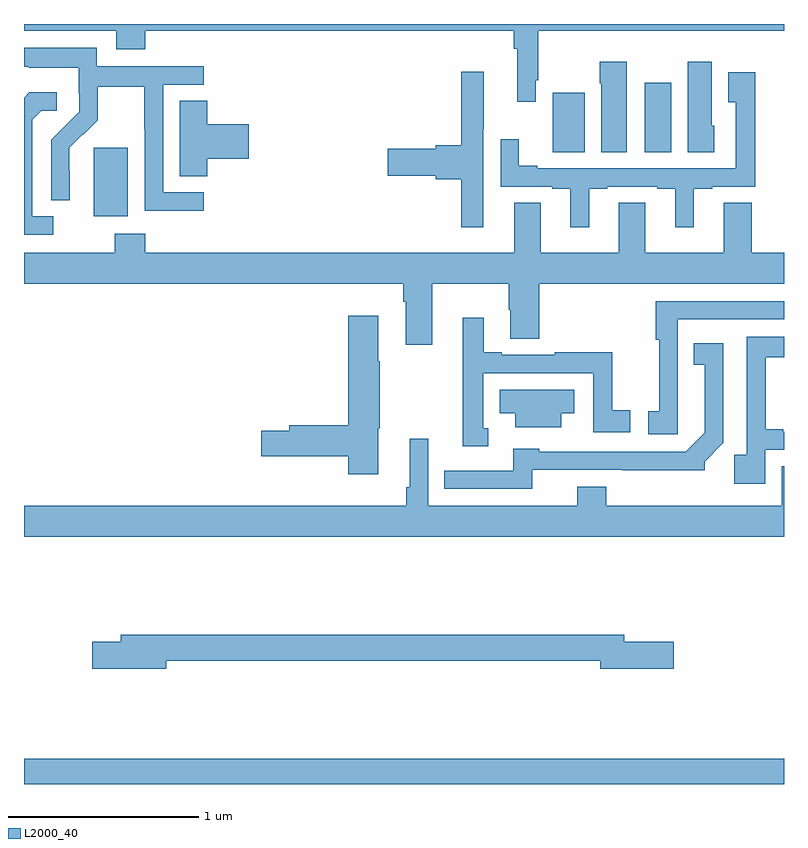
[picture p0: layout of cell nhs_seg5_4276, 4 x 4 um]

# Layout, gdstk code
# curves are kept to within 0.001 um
import gdstk
lib = gdstk.Library(unit=1e-6, precision=1e-09)
def R(c, l, rs):  # rectangles x0, y0, x1, y1
    for r in rs: c.add(gdstk.rectangle(r[:2], r[2:], *l))
def P(c, l, *ps):  # polygons
    for p in ps: c.add(gdstk.Polygon(p, *l))
L2000_40 = (2000, 40)

nhs_seg5_4276 = lib.new_cell('nhs_seg5_4276')
R(nhs_seg5_4276, L2000_40, [(363,848.799,367,848.932), (363.368,851.786,363.547,852.147), (365.783,852.124,365.95,852.436), (366.266,852.124,366.406,852.49)])
P(nhs_seg5_4276, L2000_40, [(365.694,852.502),(365.707,852.502),(365.707,852.764),(367,852.764),(367,852.799),(363,852.799),(363,852.764),(363.485,852.764),(363.485,852.665),(363.638,852.665),(363.638,852.764),(365.578,852.764),(365.578,852.668),(365.597,852.668),(365.597,852.39),(365.694,852.39)],
  [(363.946,851.913),(363.732,851.913),(363.732,852.48),(363.946,852.48),(363.946,852.576),(363.384,852.576),(363.384,852.673),(363,852.673),(363,852.573),(363.025,852.573),(363.025,852.569),(363.288,852.569),(363.288,852.435),(363.29,852.435),(363.29,852.338),(363.144,852.19),(363.144,851.872),(363.24,851.872),(363.239,852.149),(363.309,852.219),(363.312,852.216),(363.389,852.293),(363.389,852.468),(363.634,852.468),(363.634,852.244),(363.636,852.244),(363.636,851.815),(363.946,851.815)],
  [(366.634,852.264),(366.619,852.264),(366.619,852.601),(366.494,852.601),(366.494,852.124),(366.634,852.124)],
  [(366.172,852.601),(366.031,852.601),(366.031,852.488),(366.038,852.488),(366.038,852.124),(366.172,852.124)],
  [(365.418,852.244),(365.42,852.244),(365.42,852.547),(365.302,852.547),(365.302,852.161),(365.166,852.161),(365.166,852.143),(364.914,852.143),(364.914,852.001),(365.166,852.001),(365.166,851.983),(365.302,851.983),(365.302,851.73),(365.418,851.73)],
  [(365.974,851.931),(366.07,851.931),(366.07,851.943),(366.332,851.943),(366.332,851.931),(366.428,851.931),(366.428,851.73),(366.526,851.73),(366.526,851.931),(366.622,851.931),(366.622,851.943),(366.848,851.943),(366.848,852.544),(366.707,852.544),(366.707,852.388),(366.747,852.388),(366.747,852.039),(365.701,852.039),(365.701,852.052),(365.605,852.052),(365.605,852.193),(365.508,852.193),(365.508,851.943),(365.78,851.943),(365.78,851.931),(365.876,851.931),(365.876,851.73),(365.974,851.73)],
  [(363.154,851.787),(363.043,851.787),(363.043,852.295),(363.09,852.342),(363.172,852.342),(363.172,852.439),(363.028,852.439),(363,852.411),(363,851.691),(363.154,851.691)],
  [(363.965,852.089),(364.183,852.089),(364.183,852.272),(363.965,852.272),(363.965,852.395),(363.821,852.395),(363.821,851.998),(363.965,851.998)],
  [(365.149,851.432),(365.551,851.432),(365.551,851.294),(365.558,851.294),(365.558,851.143),(365.711,851.143),(365.711,851.432),(367,851.432),(367,851.596),(366.831,851.596),(366.831,851.858),(366.683,851.858),(366.683,851.596),(366.271,851.596),(366.271,851.858),(366.131,851.858),(366.131,851.596),(365.719,851.596),(365.719,851.858),(365.579,851.858),(365.579,851.596),(363.638,851.596),(363.638,851.695),(363.478,851.695),(363.478,851.596),(363,851.596),(363,851.432),(364.997,851.432),(364.997,851.336),(365.009,851.336),(365.009,851.112),(365.149,851.112)],
  [(366.442,850.916),(366.441,850.916),(366.441,851.244),(367,851.244),(367,851.34),(366.325,851.34),(366.325,851.137),(366.343,851.137),(366.343,850.761),(366.285,850.761),(366.285,850.641),(366.442,850.641)],
  [(364.864,850.671),(364.872,850.671),(364.872,851.024),(364.864,851.024),(364.864,851.263),(364.706,851.263),(364.706,850.688),(364.397,850.688),(364.397,850.658),(364.248,850.658),(364.248,850.523),(364.706,850.523),(364.706,850.428),(364.864,850.428)],
  [(365.443,850.671),(365.418,850.671),(365.418,850.962),(365.997,850.962),(365.997,850.65),(366.19,850.65),(366.19,850.766),(366.096,850.766),(366.096,851.071),(365.794,851.071),(365.794,851.058),(365.515,851.058),(365.515,851.071),(365.419,851.071),(365.419,851.254),(365.309,851.254),(365.309,851.009),(365.31,851.009),(365.31,850.577),(365.443,850.577)],
  [(366.9,850.557),(367,850.557),(367,850.653),(366.997,850.653),(366.997,850.666),(366.905,850.666),(366.905,851.046),(367,851.046),(367,851.154),(366.804,851.154),(366.804,850.531),(366.739,850.531),(366.739,850.38),(366.9,850.38)],
  [(365.676,850.452),(366.582,850.451),(366.582,850.495),(366.681,850.594),(366.681,851.119),(366.526,851.119),(366.526,851.006),(366.584,851.006),(366.584,850.649),(366.483,850.548),(365.712,850.548),(365.712,850.564),(365.576,850.564),(365.576,850.449),(365.212,850.449),(365.212,850.353),(365.676,850.353)],
  [(365.827,850.751),(365.896,850.751),(365.896,850.873),(365.503,850.873),(365.503,850.751),(365.585,850.751),(365.585,850.676),(365.827,850.676)],
  [(367,850.472),(366.989,850.472),(366.989,850.264),(366.065,850.264),(366.065,850.363),(365.912,850.363),(365.912,850.264),(365.127,850.264),(365.127,850.615),(365.03,850.615),(365.03,850.36),(365.011,850.36),(365.011,850.264),(363,850.264),(363,850.1),(367,850.1)],
  [(363.748,849.448),(366.032,849.448),(366.032,849.406),(366.421,849.406),(366.421,849.548),(366.16,849.548),(366.16,849.584),(363.509,849.584),(363.509,849.548),(363.36,849.548),(363.36,849.406),(363.748,849.406)])

lib.write_gds('nhs_seg5_4276.gds')
